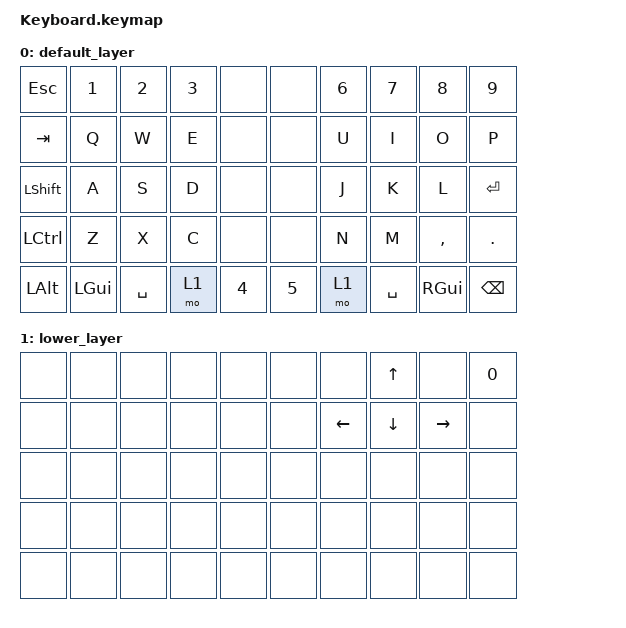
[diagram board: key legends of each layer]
#include <behaviors.dtsi>
#include <dt-bindings/zmk/keys.h>

/ {
    keymap {
        compatible = "zmk,keymap";

        default_layer {
            bindings = <
    // Left half                                       // Right half 
    
    // (ROW0) 
    &kp ESC   &kp N1   &kp N2    &kp N3    &none       &none     &kp N6    &kp N7    &kp N8   &kp N9
    
    // (ROW1) 
    &kp TAB   &kp Q    &kp W     &kp E     &none       &none     &kp U     &kp I     &kp O    &kp P
    
    // (ROW2) 
    &kp LSHFT &kp A    &kp S     &kp D     &none       &none     &kp J     &kp K     &kp L    &kp ENTER
    
    // (ROW3) 
    &kp LCTRL &kp Z    &kp X     &kp C     &none       &none     &kp N     &kp M     &kp COMMA &kp DOT
    
    // (ROW4) 
    &kp LALT  &kp LGUI &kp SPACE &mo 1     &kp N4      &kp N5    &mo 1     &kp SPACE &kp RGUI &kp BSPC
            >;
        };

        lower_layer {
            bindings = <
    // Secondary layer
    &none     &none    &none     &none     &none       &none     &none     &kp UP    &none    &kp N0
    &none     &none    &none     &none     &none       &none     &kp LEFT  &kp DOWN  &kp RIGHT &none
    &none     &none    &none     &none     &none       &none     &none     &none     &none    &none
    &none     &none    &none     &none     &none       &none     &none     &none     &none    &none
    &none     &none    &none     &none     &none       &none     &none     &none     &none    &none
            >;
        };
    };
};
